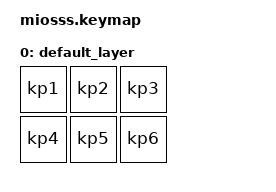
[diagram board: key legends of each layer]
#include <behaviors.dtsi>
#include <dt-bindings/zmk/keys.h>
#include <dt-bindings/zmk/bt.h>

#define DEFAULT 0

keymap {
        compatible = "zmk,keymap";

        default_layer {
            bindings = <
                &kp KP_N1   &kp KP_N2   &kp KP_N3
                &kp KP_N4   &kp KP_N5   &kp KP_N6
            >;
        };
}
